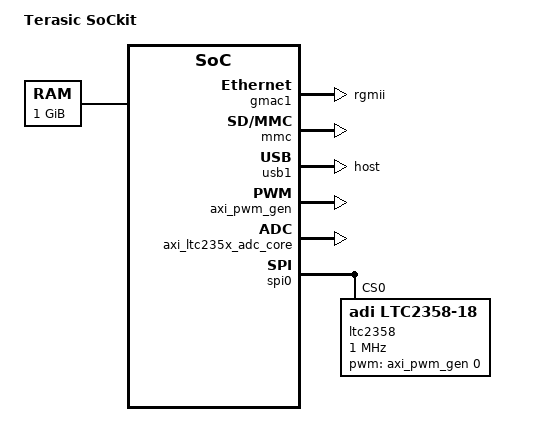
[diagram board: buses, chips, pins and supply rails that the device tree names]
// SPDX-License-Identifier: GPL-2.0
/*
 * DC2677A HSMC board
 *
 * hdl_project: <dc2677a/c5soc>
 * board_revision: <>
 *
 * Copyright 2023 Analog Devices Inc.
 */
#include <dt-bindings/interrupt-controller/irq.h>
#include <dt-bindings/gpio/gpio.h>
#include <dt-bindings/pwm/pwm.h>
#include "socfpga_cyclone5.dtsi"

/ {
	model = "Terasic SoCkit";
	compatible = "altr,socfpga-cyclone5", "altr,socfpga";

	chosen {
		bootargs = "console=ttyS0,115200";
	};

	memory {
		name = "memory";
		device_type = "memory";
		reg = <0x0 0x40000000>;
	};

	aliases {
		ethernet0 = &gmac1;
	};

	sys_clk: sys_clk {
		#clock-cells = <0x0>;
		compatible = "fixed-clock";
		clock-frequency = <50000000>;
		clock-output-names = "sys_clk";
	};

	soc {
		clkmgr@ffd04000 {
			clocks {
				osc1 {
					clock-frequency = <25000000>;
				};
			};
		};

		gmac1: ethernet@ff702000 {
			phy-mode = "rgmii";
			phy-addr = <0xffffffff>; /* probe for phy addr */
			status = "okay";

			rxd0-skew-ps = <0>;
			rxd1-skew-ps = <0>;
			rxd2-skew-ps = <0>;
			rxd3-skew-ps = <0>;
			txen-skew-ps = <0>;
			txc-skew-ps = <2600>;
			rxdv-skew-ps = <0>;
			rxc-skew-ps = <2000>;
		};

		timer0: timer0@ffc08000 {
			clock-frequency = <100000000>;
		};

		timer1: timer1@ffc09000 {
			clock-frequency = <100000000>;
		};

		timer2: timer2@ffd00000 {
			clock-frequency = <25000000>;
		};

		timer3: timer3@ffd01000 {
			clock-frequency = <25000000>;
		};

		uart0: serial0@ffc02000 {
			clock-frequency = <100000000>;
		};

		uart1: serial1@ffc03000 {
			clock-frequency = <100000000>;
		};

		mmc: dwmmc0@ff704000 {
			status = "okay";
			supports-highspeed;
			altr,dw-mshc-ciu-div = <0x3>;
			altr,dw-mshc-sdr-timing = <0x0 0x3>;
			slot@0 {
				reg = <0x0>;
				bus-width = <0x4>;
			};
		};

		usb1: usb@ffb40000 {
			status = "okay";
			enable-dynamic-fifo = <1>;
			host-rx-fifo-size = <0xa00>;
			host-perio-tx-fifo-size = <0xa00>;
			host-nperio-tx-fifo-size = <0xa00>;
			dma-desc-enable = <0>;
			dr_mode = "host";
		};

		sys_hps_bridges: bridge@c0000000 {
			compatible = "simple-bus";
			reg = <0xc0000000 0x20000000>,
				<0xff200000 0x00200000>;
			reg-names = "axi_h2f", "axi_h2f_lw";
			#address-cells = <2>;
			#size-cells = <1>;
			ranges = <0x00000000 0x00000000 0xc0000000 0x00010000>,
				<0x00000001 0x00100000 0xff300000 0x00100000>;

			c5soc_sys_cpu_interconnect: bridge@100100000 {
				compatible = "simple-bus";
				reg = <0x00000001 0x00100000 0x00100000>;
				#address-cells = <1>;
				#size-cells = <1>;
				ranges = <0x00020000 0x00000001 0x00120000 0x00010000>,
					<0x00000000 0x00000001 0x00100000 0x00004000>,
					<0x00040000 0x00000001 0x00140000 0x00001000>,
					<0x00009000 0x00000001 0x00109000 0x00000010>;

				rx_dma: dma@0 {
					compatible = "adi,axi-dmac-1.00.a";
					reg = <0x00000000 0x00004000>;
					interrupt-parent = <&intc>;
					interrupts = <0 42 4>;
					#dma-cells = <1>;
					clocks = <&sys_clk>;

					adi,channels {
						#size-cells = <0>;
						#address-cells = <1>;

						dma-channel@0 {
							reg = <0>;
							adi,source-bus-width = <256>;
							adi,source-bus-type = <2>;
							adi,destination-bus-width = <64>;
							adi,destination-bus-type = <0>;
						};
					};
				};

				axi_pwm_gen: axi-pwm-gen@40000 {
					compatible = "adi,axi-pwmgen";
					reg = <0x00040000 0x1000>;
					#pwm-cells = <2>;
					clocks = <&sys_clk>;
				};

				gpio: gpio@9000 {
					compatible = "altr,pio-1.0";
					reg = <0x00020000 0x00010000>;
					altr,gpio-bank-width = <5>;
					resetvalue = <0>;
					#gpio-cells = <2>;
					gpio-controller;
				};

				axi_ltc235x_adc_core: axi-ltc235x@20000 {
					compatible = "adi,axi-adc-10.0.a";
					reg = <0x00020000 0x00010000>;
					dmas = <&rx_dma 0>;
					dma-names = "rx";
					spibus-connected = <&ltc2358>;
				};
			};
		};
	};
};

&spi0 {
	status = "okay";

	ltc2358: adc@0 {
		compatible = "adi,ltc2358-18";
		reg = <0>;
		spi-max-frequency = <1000000>;

		#address-cells = <1>;
		#size-cells = <0>;

		clocks = <&sys_clk>;
		clock-names = "clkin";

		pwms = <&axi_pwm_gen 0 0>;
		pwm-names = "cnv";

		channel@0 {
			reg = <0>;
			adi,softspan-code = <1>;
		};

		channel@1 {
			reg = <1>;
			adi,softspan-code = <3>;
		};

		channel@2 {
			reg = <2>;
			adi,softspan-code = <2>;
		};

		channel@3 {
			reg = <3>;
			adi,softspan-code = <4>;
		};

		channel@4 {
			reg = <4>;
			adi,softspan-code = <5>;
		};

		channel@5 {
			reg = <5>;
			adi,softspan-code = <7>;
		};

		channel@6 {
			reg = <6>;
			adi,softspan-code = <6>;
		};

		channel@7 {
			reg = <7>;
			adi,softspan-code = <2>;
		};
	};
};
